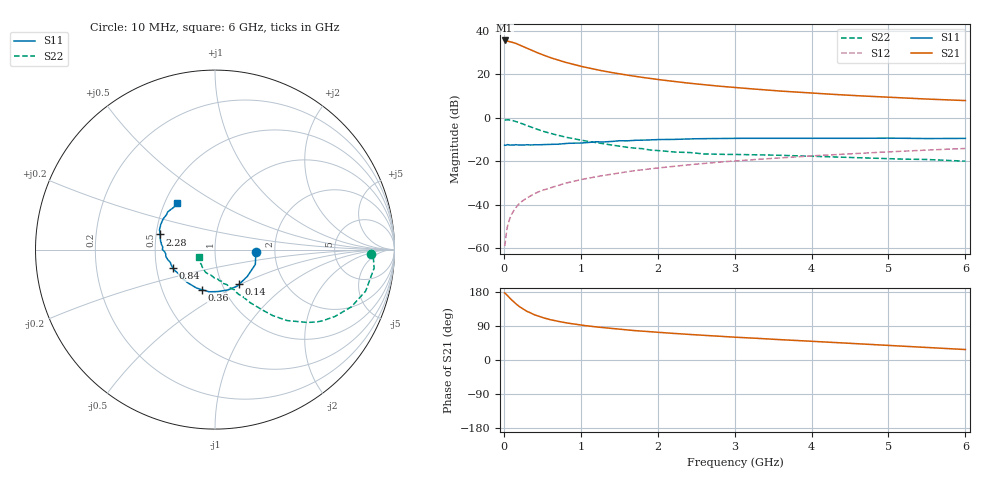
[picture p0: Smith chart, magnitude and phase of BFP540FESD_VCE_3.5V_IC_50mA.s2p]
! Infineon Technologies  Discrete & RF Semiconductors
! BFP540FESD
! VCE =  3.5 V,  IC =  50 mA
! Common Emitter S-Parameters:  Nov 2015
# GHz  S  MA  R  50
!  f  S11  S21  S12  S22
! GHz  MAG  ANG  MAG  ANG  MAG  ANG  MAG  ANG
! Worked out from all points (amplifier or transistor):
!   210 points, 10 MHz to 6 GHz, reference 50 ohm
!   highest |S21| = 35.5 dB at 10 MHz (marker M1)
!   |S21| within 3 dB of that: start of sweep to 263.1 MHz
!   unconditionally stable (mu >= 1): start of sweep to 27.68 MHz; 1.256 GHz to end of sweep
!   at 185 MHz: K = 0.49, MSG = 36.9 dB, |S12| = -40.2 dB
!   at 1.52 GHz: K = 1.03, MAG = 21.7 dB, |S12| = -25.4 dB
!   at 6 GHz: K = 1.16, MAG = 8.6 dB, |S12| = -14.2 dB
!   S11 on the Smith chart (normalised r, x): 10 MHz: 1.60, -0.04; 140 MHz: 1.20, -0.49; 360 MHz: 0.78, -0.37; 840 MHz: 0.61, -0.13; 2.28 GHz: 0.52, +0.10; 6 GHz: 0.58, +0.34
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0.01  0.2312 -2.8  59.51 176.9  0.0011 111.2  0.8694 -1.7
0.02  0.2301 -10.1  57.13 175.5  0.0014 95.9  0.8799 -0.8
0.05  0.2394 -20.2  57.38 169.3  0.0033 87.5  0.8925 -6.6
0.1  0.2339 -39.5  54.66 158.8  0.0059 79.7  0.8706 -15.4
0.14  0.2354 -55.1  52 151.5  0.0077 77.5  0.832 -21.3
0.2  0.2356 -72.5  47.19 141.2  0.0105 76.0  0.7655 -29.1
0.24  0.2339 -82.8  43.91 135.9  0.012 74.8  0.7211 -33.3
0.3  0.2373 -98.1  39.43 128.4  0.014 73.7  0.6548 -38.3
0.36  0.2348 -108.5  35.41 123.2  0.0163 72.3  0.5996 -41.8
0.4  0.2375 -115.4  32.92 119.1  0.0178 71.5  0.5643 -44.5
0.5  0.2389 -128.6  28 112.0  0.0212 72.3  0.4889 -48.8
0.6  0.2432 -138.6  24.06 106.6  0.0239 71.2  0.4341 -51.5
0.7  0.2439 -146.6  21.12 102.2  0.0272 71.1  0.3932 -53.8
0.84  0.2561 -156.3  17.93 97.1  0.0321 70.5  0.3442 -57.0
1.02  0.2609 -164.9  14.89 91.7  0.0379 70.6  0.2996 -59.9
1.5  0.2932 179.9  10.15 81.2  0.0533 68.9  0.2213 -69.6
2.02  0.3125 168.0  7.453 72.8  0.0697 65.6  0.1739 -82.2
2.28  0.3176 164.6  6.567 69.3  0.078 63.9  0.16 -87.7
3.1  0.3333 154.5  4.76 59.2  0.1033 59.0  0.1407 -105.9
4.1  0.3345 147.7  3.573 48.3  0.1343 52.2  0.1273 -120.2
5.1  0.335 140.0  2.884 37.4  0.1658 44.2  0.1119 -134.0
6  0.332 129.1  2.462 27.6  0.1947 36.4  0.0995 -154.2
